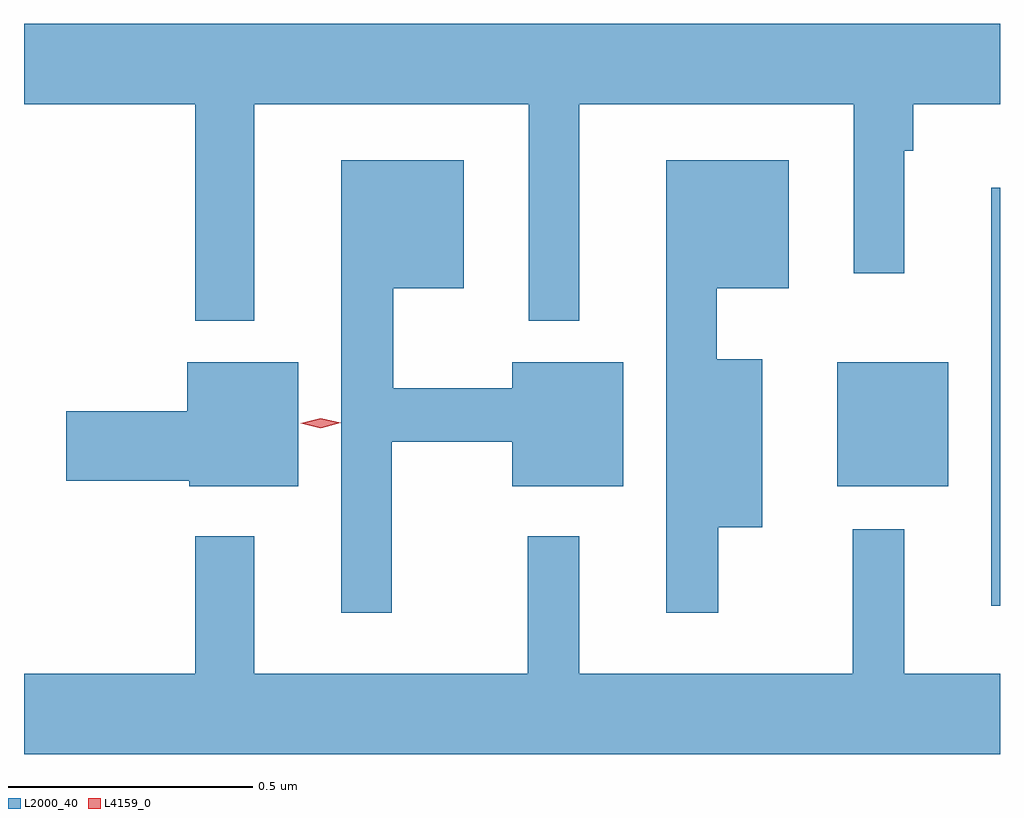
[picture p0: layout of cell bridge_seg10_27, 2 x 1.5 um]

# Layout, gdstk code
import gdstk
lib = gdstk.Library(unit=1e-6, precision=1e-09)
def R(c, l, rs):  # rectangles x0, y0, x1, y1
    for r in rs: c.add(gdstk.rectangle(r[:2], r[2:], *l))
def P(c, l, *ps):  # polygons
    for p in ps: c.add(gdstk.Polygon(p, *l))
L2000_40 = (2000, 40)
L4159_0 = (4159, 0)

bridge_seg10_27 = lib.new_cell('bridge_seg10_27')
R(bridge_seg10_27, L2000_40, [(958.439,1320.6,958.457,1321.456), (958.124,1320.845,958.351,1321.099)])
P(bridge_seg10_27, L2000_40, [(956.929,1321.628),(957.491,1321.628),(957.491,1321.184),(957.595,1321.184),(957.595,1321.628),(958.157,1321.628),(958.157,1321.281),(958.261,1321.281),(958.261,1321.532),(958.279,1321.532),(958.279,1321.628),(958.457,1321.628),(958.457,1321.792),(956.457,1321.792),(956.457,1321.628),(956.808,1321.628),(956.808,1321.184),(956.929,1321.184)],
  [(957.88,1320.761),(957.97,1320.761),(957.97,1321.105),(957.877,1321.105),(957.877,1321.25),(958.024,1321.25),(958.024,1321.513),(957.773,1321.513),(957.773,1320.585),(957.88,1320.585)],
  [(957.211,1320.936),(957.458,1320.936),(957.458,1320.845),(957.685,1320.845),(957.685,1321.099),(957.458,1321.099),(957.458,1321.046),(957.214,1321.046),(957.214,1321.25),(957.358,1321.25),(957.358,1321.513),(957.107,1321.513),(957.107,1320.585),(957.211,1320.585)],
  [(957.019,1321.099),(956.792,1321.099),(956.792,1320.998),(956.544,1320.998),(956.544,1320.856),(956.796,1320.856),(956.796,1320.845),(957.019,1320.845)],
  [(958.457,1320.46),(958.261,1320.46),(958.261,1320.757),(958.155,1320.757),(958.155,1320.46),(957.595,1320.46),(957.595,1320.742),(957.489,1320.742),(957.489,1320.46),(956.929,1320.46),(956.929,1320.742),(956.808,1320.742),(956.808,1320.46),(956.457,1320.46),(956.457,1320.296),(958.457,1320.296)])
P(bridge_seg10_27, L4159_0, [(957.065,1320.964),(957.024,1320.974),(957.024,1320.974),(957.024,1320.974),(957.065,1320.984),(957.106,1320.975),(957.106,1320.975),(957.106,1320.975)])

lib.write_gds('bridge_seg10_27.gds')
